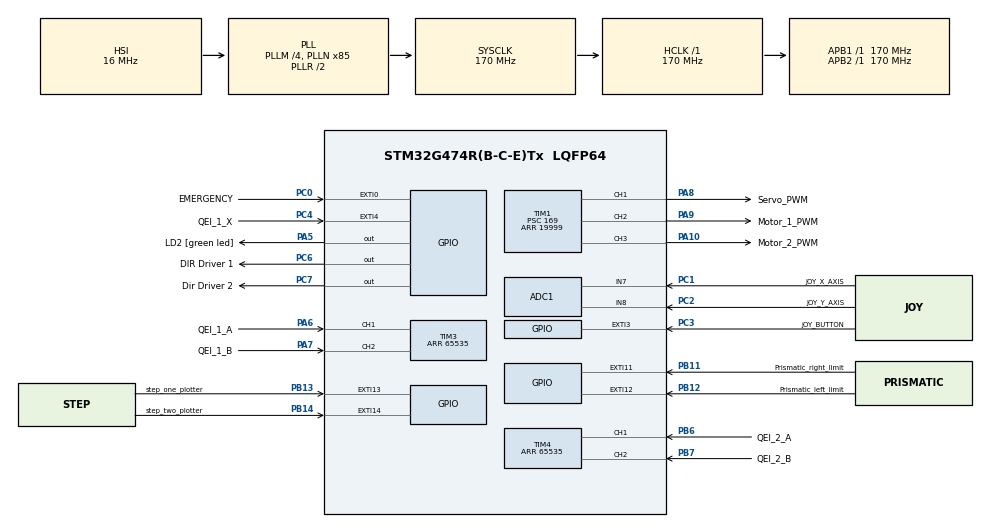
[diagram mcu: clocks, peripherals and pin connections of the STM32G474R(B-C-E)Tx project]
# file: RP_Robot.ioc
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ADC1.Channel-0\#ChannelRegularConversion=ADC_CHANNEL_7
ADC1.Channel-1\#ChannelRegularConversion=ADC_CHANNEL_8
ADC1.ContinuousConvMode=ENABLE
ADC1.DMAContinuousRequests=ENABLE
ADC1.NbrOfConversion=2
ADC1.NbrOfConversionFlag=1
ADC1.OffsetNumber-0\#ChannelRegularConversion=ADC_OFFSET_NONE
ADC1.OffsetNumber-1\#ChannelRegularConversion=ADC_OFFSET_NONE
ADC1.Rank-0\#ChannelRegularConversion=1
ADC1.Rank-1\#ChannelRegularConversion=2
ADC1.SamplingTime-0\#ChannelRegularConversion=ADC_SAMPLETIME_640CYCLES_5
ADC1.SamplingTime-1\#ChannelRegularConversion=ADC_SAMPLETIME_640CYCLES_5
ADC1.master=1
ARM.CMSIS-DSP.1.15.0.CMSISJjDSP=Source
ARM.CMSIS.6.0.0.CMSISJjCORE=true
Dma.ADC1.0.Direction=DMA_PERIPH_TO_MEMORY
Dma.ADC1.0.EventEnable=DISABLE
Dma.ADC1.0.Instance=DMA1_Channel1
Dma.ADC1.0.MemDataAlignment=DMA_MDATAALIGN_HALFWORD
Dma.ADC1.0.MemInc=DMA_MINC_ENABLE
Dma.ADC1.0.Mode=DMA_CIRCULAR
Dma.ADC1.0.PeriphDataAlignment=DMA_PDATAALIGN_HALFWORD
Dma.ADC1.0.PeriphInc=DMA_PINC_DISABLE
Dma.ADC1.0.Polarity=HAL_DMAMUX_REQ_GEN_RISING
Dma.ADC1.0.Priority=DMA_PRIORITY_LOW
Dma.ADC1.0.RequestNumber=1
Dma.ADC1.0.SignalID=NONE
Dma.ADC1.0.SyncEnable=DISABLE
Dma.ADC1.0.SyncPolarity=HAL_DMAMUX_SYNC_NO_EVENT
Dma.ADC1.0.SyncRequestNumber=1
Dma.ADC1.0.SyncSignalID=NONE
Dma.Request0=ADC1
Mcu.Family=STM32G4
Mcu.Name=STM32G474R(B-C-E)Tx
Mcu.Package=LQFP64
NVIC.DMA1_Channel1_IRQn=true\:0\:0\:false\:false\:true\:false\:true\:true
NVIC.EXTI15_10_IRQn=true\:0\:0\:false\:false\:true\:true\:true\:true
NVIC.PriorityGroup=NVIC_PRIORITYGROUP_4
NVIC.TIM2_IRQn=true\:0\:0\:false\:false\:true\:true\:true\:true
NVIC.TIM3_IRQn=true\:0\:0\:false\:false\:true\:true\:true\:true
NVIC.TIM4_IRQn=true\:0\:0\:false\:false\:true\:true\:true\:true
NVIC.TIM5_IRQn=true\:0\:0\:false\:false\:true\:true\:true\:true
PA10.GPIO_Label=Motor_2_PWM
PA10.Signal=S_TIM1_CH3
PA13.GPIO_Label=T_SWDIO
PA13.Mode=Trace_Asynchronous_SW
PA13.Signal=SYS_JTMS-SWDIO
PA14.GPIO_Label=T_SWCLK
PA14.Mode=Trace_Asynchronous_SW
PA14.Signal=SYS_JTCK-SWCLK
PA2.GPIO_Label=LPUART1_TX [STLINKV3E_VCP_RX]
PA2.Signal=LPUART1_TX
PA3.GPIO_Label=LPUART1_RX [STLINKV3E_VCP_TX]
PA3.Signal=LPUART1_RX
PA5.GPIO_Label=LD2 [green led]
PA5.Signal=GPIO_Output
PA6.GPIO_Label=QEI_1_A
PA6.Signal=S_TIM3_CH1
PA7.GPIO_Label=QEI_1_B
PA7.Signal=S_TIM3_CH2
PA8.GPIO_Label=Servo_PWM
PA8.Signal=S_TIM1_CH1
PA9.GPIO_Label=Motor_1_PWM
PA9.Signal=S_TIM1_CH2
PB11.GPIO_Label=Prismatic_right_limit
PB11.GPIO_ModeDefaultEXTI=GPIO_MODE_IT_RISING_FALLING
PB11.Signal=GPXTI11
PB12.GPIO_Label=Prismatic_left_limit
PB12.GPIO_ModeDefaultEXTI=GPIO_MODE_IT_RISING_FALLING
PB12.Signal=GPXTI12
PB13.GPIO_Label=step_one_plotter
PB13.Signal=GPXTI13
PB14.GPIO_Label=step_two_plotter
PB14.Signal=GPXTI14
PB3.GPIO_Label=T_SWO
PB3.Mode=Trace_Asynchronous_SW
PB3.Signal=SYS_JTDO-SWO
PB6.GPIO_Label=QEI_2_A
PB6.Signal=S_TIM4_CH1
PB7.GPIO_Label=QEI_2_B
PB7.Signal=S_TIM4_CH2
PC0.GPIO_Label=EMERGENCY
PC0.Signal=GPXTI0
PC1.GPIO_Label=JOY_X_AXIS
PC1.Mode=IN7-Single-Ended
PC1.Signal=ADC1_IN7
PC14-OSC32_IN.GPIO_Label=RCC_OSC32_IN
PC14-OSC32_IN.Signal=RCC_OSC32_IN
PC15-OSC32_OUT.GPIO_Label=RCC_OSC32_OUT
PC15-OSC32_OUT.Signal=RCC_OSC32_OUT
PC2.GPIO_Label=JOY_Y_AXIS
PC2.Mode=IN8-Single-Ended
PC2.Signal=ADC1_IN8
PC3.GPIO_Label=JOY_BUTTON
PC3.Signal=GPXTI3
PC4.GPIO_Label=QEI_1_X
PC4.Signal=GPXTI4
PC6.GPIO_Label=DIR Driver 1
PC6.Signal=GPIO_Output
PC7.GPIO_Label=Dir Driver 2
PC7.Signal=GPIO_Output
PF0-OSC_IN.GPIO_Label=RCC_OSC_IN
PF0-OSC_IN.Signal=RCC_OSC_IN
PF1-OSC_OUT.GPIO_Label=RCC_OSC_OUT
PF1-OSC_OUT.Signal=RCC_OSC_OUT
ProjectManager.HeapSize=0x200
ProjectManager.StackSize=0x400
ProjectManager.TargetToolchain=STM32CubeIDE
RCC.ADC12Freq_Value=170000000
RCC.ADC345Freq_Value=170000000
RCC.AHBFreq_Value=170000000
RCC.APB1Freq_Value=170000000
RCC.APB1TimFreq_Value=170000000
RCC.APB2Freq_Value=170000000
RCC.APB2TimFreq_Value=170000000
RCC.CortexFreq_Value=170000000
RCC.EXTERNAL_CLOCK_VALUE=12288000
RCC.HCLKFreq_Value=170000000
RCC.HSE_VALUE=24000000
RCC.HSI48_VALUE=48000000
RCC.HSI_VALUE=16000000
RCC.LSE_VALUE=32768
RCC.PLLM=RCC_PLLM_DIV4
RCC.PLLN=85
RCC.RTCClockSelection=RCC_RTCCLKSOURCE_LSE
RCC.SYSCLKFreq_VALUE=170000000
RCC.SYSCLKSource=RCC_SYSCLKSOURCE_PLLCLK
RCC.USBFreq_Value=170000000
RCC.VCOOutputFreq_Value=340000000
SH.S_TIM1_CH1.0=TIM1_CH1,PWM Generation1 CH1
SH.S_TIM1_CH2.0=TIM1_CH2,PWM Generation2 CH2
SH.S_TIM1_CH3.0=TIM1_CH3,PWM Generation3 CH3
SH.S_TIM3_CH1.0=TIM3_CH1,Encoder_Interface
SH.S_TIM3_CH2.0=TIM3_CH2,Encoder_Interface
SH.S_TIM4_CH1.0=TIM4_CH1,Encoder_Interface
SH.S_TIM4_CH2.0=TIM4_CH2,Encoder_Interface
TIM1.Channel-PWM\ Generation1\ CH1=TIM_CHANNEL_1
TIM1.Channel-PWM\ Generation2\ CH2=TIM_CHANNEL_2
TIM1.Channel-PWM\ Generation3\ CH3=TIM_CHANNEL_3
TIM1.PeriodNoDither=19999
TIM1.Prescaler=169
TIM1.PulseNoDither_3=0
TIM2.PeriodNoDither=999
TIM2.Prescaler=169
TIM3.EncoderMode=TIM_ENCODERMODE_TI12
TIM3.PeriodNoDither=65535
TIM4.EncoderMode=TIM_ENCODERMODE_TI12
TIM4.PeriodNoDither=65535
TIM5.PeriodNoDither=4294967295
TIM5.Prescaler=169
VP_ARM.CMSIS-DSP_VS_CMSISJjDSP_1.15.0_1.15.0.Mode=CMSISJjDSP
VP_ARM.CMSIS_VS_CMSISJjCORE_6.0.0_6.0.0.Mode=CMSISJjCORE
VP_SYS_VS_DBSignals.Mode=DisableDeadBatterySignals
VP_TIM1_VS_ClockSourceINT.Mode=Internal
VP_TIM2_VS_ClockSourceINT.Mode=Internal
VP_TIM5_VS_ClockSourceINT.Mode=Internal
board=NUCLEO-G474RE

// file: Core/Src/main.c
/* USER CODE BEGIN Header */
/**
 ******************************************************************************
 * @file           : main.c
 * @brief          : Main program body
 ******************************************************************************
 * @attention
 *
 * Copyright (c) 2025 STMicroelectronics.
 * All rights reserved.
 *
 * This software is licensed under terms that can be found in the LICENSE file
 * in the root directory of this software component.
 * If no LICENSE file comes with this software, it is provided AS-IS.
 *
 ******************************************************************************
 */
/* USER CODE END Header */
#include "main.h"

/* USER CODE BEGIN Includes */
#include <stdbool.h>
#include "arm_math.h"
#include <stdlib.h>
/* USER CODE END Includes */

ADC_HandleTypeDef hadc1;
DMA_HandleTypeDef hdma_adc1;

TIM_HandleTypeDef htim1;
TIM_HandleTypeDef htim2;
TIM_HandleTypeDef htim3;
TIM_HandleTypeDef htim4;
TIM_HandleTypeDef htim5;

/* USER CODE BEGIN PV */
//Prismatic
int8_t prismatic_left_sw = 0;
int8_t prismatic_right_sw = 0;
int8_t pen_limit_one = 0;
int8_t pen_limit_two = 0;

// Encoder prismatic
int32_t prismatic_raw_encoder_val = 0;
int32_t prismatic_raw_encoder_prev = 0;
int32_t prismatic_encoder_val = 0;
double prismatic_position = 0.00;
double prismatic_error = 0.00;
double prismatic_feedback = 0.00;

int32_t state = 0;

// PID pristmatic
arm_pid_instance_f32 PID = { 0 };
double prismatic_setposition = 0.00;
double prismatic_Kp = 5;
double prismatic_Ki = 2;
double prismatic_Kd = 0;

//Revolute
//Encoder
int32_t revolute_raw_encoder_val = 0;
int32_t revolute_raw_encoder_prev = 0;
int32_t revolute_encoder_val = 0;
double revolute_position = 0.00;
double revolute_error = 0.00;
double revolute_feedback = 0.00;
double revolute_velocity = 0.00;
// PID
arm_pid_instance_f32 PID_position = { 0 };
double revolute_setposition = 0.00;
double revolute_position_Kp = 1;
double revolute_position_Ki = 0;
double revolute_position_Kd = 0;

arm_pid_instance_f32 PID_velocity = { 0 };
double revolute_velocity_Kp = 1;
double revolute_velocity_Ki = 0;
double revolute_velocity_Kd = 0;

typedef struct
{
	uint32_t Position[2];
	uint64_t TimeStamp[2];
	float QEIPostion_1turn;
	float QEIAngularVelocity;
}QEI_StructureTypeDef;

QEI_StructureTypeDef QEIdata = {0};
uint64_t _micros = 0;

enum
{
	NEW,OLD
};

// ADC
uint16_t ADC_RawRead[10]={0};
double Joy_X_Axis;
double Joy_Y_Axis;
double Joy_Buttom;
/* USER CODE END PV */

void SystemClock_Config(void);
static void MX_GPIO_Init(void);
static void MX_DMA_Init(void);
static void MX_TIM1_Init(void);
static void MX_TIM3_Init(void);
static void MX_TIM4_Init(void);
static void MX_ADC1_Init(void);
static void MX_TIM2_Init(void);
static void MX_TIM5_Init(void);
/* USER CODE BEGIN PFP */
//Prismatic Control
void SetHomePrismatic();
void PrismaticMotorControl(int speed, int dir);
void PrismaticPIDControl(double set_point);

int map(int x, int in_min, int in_max, int out_min, int out_max);

//Revolute Control
void SetHomeRevolute();
void RevoluteMotorControl(int speed, int dir);
void PrismaticCascadeControl(double pos_setpoint);
uint64_t micros();
void Revolute_PosVel_Update();
void Joy_Strick();
// External Interrupt
void HAL_GPIO_EXTI_Callback(uint16_t GPIO_Pin);

// Timer loop (Read sensor data and calculate here)
void HAL_TIM_PeriodElapsedCallback(TIM_HandleTypeDef *htim);
/* USER CODE END PFP */

int main(void)
{

  /* MCU Configuration--------------------------------------------------------*/

  /* Reset of all peripherals, Initializes the Flash interface and the Systick. */
  HAL_Init();

  /* Configure the system clock */
  SystemClock_Config();

  /* Initialize all configured peripherals */
  MX_GPIO_Init();
  MX_DMA_Init();
  MX_TIM1_Init();
  MX_TIM3_Init();
  MX_TIM4_Init();
  MX_ADC1_Init();
  MX_TIM2_Init();
  MX_TIM5_Init();
  /* USER CODE BEGIN 2 */

	// Setup PWM Generator
	HAL_TIM_Base_Start(&htim1);
	HAL_TIM_PWM_Start(&htim1, TIM_CHANNEL_1);
	HAL_TIM_PWM_Start(&htim1, TIM_CHANNEL_2);
	HAL_TIM_PWM_Start(&htim1, TIM_CHANNEL_3);

	// Setup Encoder
	HAL_TIM_Encoder_Start(&htim4, TIM_CHANNEL_ALL);
	prismatic_raw_encoder_val = __HAL_TIM_GET_COUNTER(&htim4);
	HAL_TIM_Encoder_Start(&htim3, TIM_CHANNEL_ALL);
	revolute_raw_encoder_val = __HAL_TIM_GET_COUNTER(&htim3);

	// Setup Timer 2 for Main Process
	HAL_TIM_Base_Start_IT(&htim2);

	// Setup Timer 5 for Micros
	HAL_TIM_Base_Start_IT(&htim5);

	//PID
	PID.Kp = prismatic_Kp;
	PID.Ki = prismatic_Ki;
	PID.Kd = prismatic_Kd;
	PID_position.Kp = revolute_position_Kp;
	PID_position.Ki = revolute_position_Ki;
	PID_position.Kd = revolute_position_Kd;
	PID_velocity.Kp = revolute_velocity_Kp;
	PID_velocity.Ki = revolute_velocity_Ki;
	PID_velocity.Kd = revolute_velocity_Kd;
	arm_pid_init_f32(&PID, 0);
	arm_pid_init_f32(&PID_position, 0);
	arm_pid_init_f32(&PID_velocity, 0);

	// DMA
	HAL_ADC_Start_DMA(&hadc1, ADC_RawRead, 10);

	SetHomePrismatic();
	SetHomeRevolute();
  /* USER CODE END 2 */

  /* Infinite loop */
	while (1) {

	}
}

void SystemClock_Config(void)
{
  RCC_OscInitTypeDef RCC_OscInitStruct = {0};
  RCC_ClkInitTypeDef RCC_ClkInitStruct = {0};

  /** Configure the main internal regulator output voltage
  */
  HAL_PWREx_ControlVoltageScaling(PWR_REGULATOR_VOLTAGE_SCALE1_BOOST);

  /** Initializes the RCC Oscillators according to the specified parameters
  * in the RCC_OscInitTypeDef structure.
  */
  RCC_OscInitStruct.OscillatorType = RCC_OSCILLATORTYPE_HSI;
  RCC_OscInitStruct.HSIState = RCC_HSI_ON;
  RCC_OscInitStruct.HSICalibrationValue = RCC_HSICALIBRATION_DEFAULT;
  RCC_OscInitStruct.PLL.PLLState = RCC_PLL_ON;
  RCC_OscInitStruct.PLL.PLLSource = RCC_PLLSOURCE_HSI;
  RCC_OscInitStruct.PLL.PLLM = RCC_PLLM_DIV4;
  RCC_OscInitStruct.PLL.PLLN = 85;
  RCC_OscInitStruct.PLL.PLLP = RCC_PLLP_DIV2;
  RCC_OscInitStruct.PLL.PLLQ = RCC_PLLQ_DIV2;
  RCC_OscInitStruct.PLL.PLLR = RCC_PLLR_DIV2;
  if (HAL_RCC_OscConfig(&RCC_OscInitStruct) != HAL_OK)
  {
    Error_Handler();
  }

  /** Initializes the CPU, AHB and APB buses clocks
  */
  RCC_ClkInitStruct.ClockType = RCC_CLOCKTYPE_HCLK|RCC_CLOCKTYPE_SYSCLK
                              |RCC_CLOCKTYPE_PCLK1|RCC_CLOCKTYPE_PCLK2;
  RCC_ClkInitStruct.SYSCLKSource = RCC_SYSCLKSOURCE_PLLCLK;
  RCC_ClkInitStruct.AHBCLKDivider = RCC_SYSCLK_DIV1;
  RCC_ClkInitStruct.APB1CLKDivider = RCC_HCLK_DIV1;
  RCC_ClkInitStruct.APB2CLKDivider = RCC_HCLK_DIV1;

  if (HAL_RCC_ClockConfig(&RCC_ClkInitStruct, FLASH_LATENCY_4) != HAL_OK)
  {
    Error_Handler();
  }
}

static void MX_ADC1_Init(void)
{

  ADC_MultiModeTypeDef multimode = {0};
  ADC_ChannelConfTypeDef sConfig = {0};

  /** Common config
  */
  hadc1.Instance = ADC1;
  hadc1.Init.ClockPrescaler = ADC_CLOCK_SYNC_PCLK_DIV4;
  hadc1.Init.Resolution = ADC_RESOLUTION_12B;
  hadc1.Init.DataAlign = ADC_DATAALIGN_RIGHT;
  hadc1.Init.GainCompensation = 0;
  hadc1.Init.ScanConvMode = ADC_SCAN_ENABLE;
  hadc1.Init.EOCSelection = ADC_EOC_SINGLE_CONV;
  hadc1.Init.LowPowerAutoWait = DISABLE;
  hadc1.Init.ContinuousConvMode = ENABLE;
  hadc1.Init.NbrOfConversion = 2;
  hadc1.Init.DiscontinuousConvMode = DISABLE;
  hadc1.Init.ExternalTrigConv = ADC_SOFTWARE_START;
  hadc1.Init.ExternalTrigConvEdge = ADC_EXTERNALTRIGCONVEDGE_NONE;
  hadc1.Init.DMAContinuousRequests = ENABLE;
  hadc1.Init.Overrun = ADC_OVR_DATA_PRESERVED;
  hadc1.Init.OversamplingMode = DISABLE;
  if (HAL_ADC_Init(&hadc1) != HAL_OK)
  {
    Error_Handler();
  }

  /** Configure the ADC multi-mode
  */
  multimode.Mode = ADC_MODE_INDEPENDENT;
  if (HAL_ADCEx_MultiModeConfigChannel(&hadc1, &multimode) != HAL_OK)
  {
    Error_Handler();
  }

  /** Configure Regular Channel
  */
  sConfig.Channel = ADC_CHANNEL_7;
  sConfig.Rank = ADC_REGULAR_RANK_1;
  sConfig.SamplingTime = ADC_SAMPLETIME_640CYCLES_5;
  sConfig.SingleDiff = ADC_SINGLE_ENDED;
  sConfig.OffsetNumber = ADC_OFFSET_NONE;
  sConfig.Offset = 0;
  if (HAL_ADC_ConfigChannel(&hadc1, &sConfig) != HAL_OK)
  {
    Error_Handler();
  }

  /** Configure Regular Channel
  */
  sConfig.Channel = ADC_CHANNEL_8;
  sConfig.Rank = ADC_REGULAR_RANK_2;
  if (HAL_ADC_ConfigChannel(&hadc1, &sConfig) != HAL_OK)
  {
    Error_Handler();
  }

}

static void MX_TIM1_Init(void)
{

  TIM_ClockConfigTypeDef sClockSourceConfig = {0};
  TIM_MasterConfigTypeDef sMasterConfig = {0};
  TIM_OC_InitTypeDef sConfigOC = {0};
  TIM_BreakDeadTimeConfigTypeDef sBreakDeadTimeConfig = {0};

  htim1.Instance = TIM1;
  htim1.Init.Prescaler = 169;
  htim1.Init.CounterMode = TIM_COUNTERMODE_UP;
  htim1.Init.Period = 19999;
  htim1.Init.ClockDivision = TIM_CLOCKDIVISION_DIV1;
  htim1.Init.RepetitionCounter = 0;
  htim1.Init.AutoReloadPreload = TIM_AUTORELOAD_PRELOAD_DISABLE;
  if (HAL_TIM_Base_Init(&htim1) != HAL_OK)
  {
    Error_Handler();
  }
  sClockSourceConfig.ClockSource = TIM_CLOCKSOURCE_INTERNAL;
  if (HAL_TIM_ConfigClockSource(&htim1, &sClockSourceConfig) != HAL_OK)
  {
    Error_Handler();
  }
  if (HAL_TIM_PWM_Init(&htim1) != HAL_OK)
  {
    Error_Handler();
  }
  sMasterConfig.MasterOutputTrigger = TIM_TRGO_RESET;
  sMasterConfig.MasterOutputTrigger2 = TIM_TRGO2_RESET;
  sMasterConfig.MasterSlaveMode = TIM_MASTERSLAVEMODE_DISABLE;
  if (HAL_TIMEx_MasterConfigSynchronization(&htim1, &sMasterConfig) != HAL_OK)
  {
    Error_Handler();
  }
  sConfigOC.OCMode = TIM_OCMODE_PWM1;
  sConfigOC.Pulse = 0;
  sConfigOC.OCPolarity = TIM_OCPOLARITY_HIGH;
  sConfigOC.OCNPolarity = TIM_OCNPOLARITY_HIGH;
  sConfigOC.OCFastMode = TIM_OCFAST_DISABLE;
  sConfigOC.OCIdleState = TIM_OCIDLESTATE_RESET;
  sConfigOC.OCNIdleState = TIM_OCNIDLESTATE_RESET;
  if (HAL_TIM_PWM_ConfigChannel(&htim1, &sConfigOC, TIM_CHANNEL_1) != HAL_OK)
  {
    Error_Handler();
  }
  if (HAL_TIM_PWM_ConfigChannel(&htim1, &sConfigOC, TIM_CHANNEL_2) != HAL_OK)
  {
    Error_Handler();
  }
  if (HAL_TIM_PWM_ConfigChannel(&htim1, &sConfigOC, TIM_CHANNEL_3) != HAL_OK)
  {
    Error_Handler();
  }
  sBreakDeadTimeConfig.OffStateRunMode = TIM_OSSR_DISABLE;
  sBreakDeadTimeConfig.OffStateIDLEMode = TIM_OSSI_DISABLE;
  sBreakDeadTimeConfig.LockLevel = TIM_LOCKLEVEL_OFF;
  sBreakDeadTimeConfig.DeadTime = 0;
  sBreakDeadTimeConfig.BreakState = TIM_BREAK_DISABLE;
  sBreakDeadTimeConfig.BreakPolarity = TIM_BREAKPOLARITY_HIGH;
  sBreakDeadTimeConfig.BreakFilter = 0;
  sBreakDeadTimeConfig.BreakAFMode = TIM_BREAK_AFMODE_INPUT;
  sBreakDeadTimeConfig.Break2State = TIM_BREAK2_DISABLE;
  sBreakDeadTimeConfig.Break2Polarity = TIM_BREAK2POLARITY_HIGH;
  sBreakDeadTimeConfig.Break2Filter = 0;
  sBreakDeadTimeConfig.Break2AFMode = TIM_BREAK_AFMODE_INPUT;
  sBreakDeadTimeConfig.AutomaticOutput = TIM_AUTOMATICOUTPUT_DISABLE;
  if (HAL_TIMEx_ConfigBreakDeadTime(&htim1, &sBreakDeadTimeConfig) != HAL_OK)
  {
    Error_Handler();
  }
  HAL_TIM_MspPostInit(&htim1);

}

static void MX_TIM2_Init(void)
{

  TIM_ClockConfigTypeDef sClockSourceConfig = {0};
  TIM_MasterConfigTypeDef sMasterConfig = {0};

  htim2.Instance = TIM2;
  htim2.Init.Prescaler = 169;
  htim2.Init.CounterMode = TIM_COUNTERMODE_UP;
  htim2.Init.Period = 999;
  htim2.Init.ClockDivision = TIM_CLOCKDIVISION_DIV1;
  htim2.Init.AutoReloadPreload = TIM_AUTORELOAD_PRELOAD_DISABLE;
  if (HAL_TIM_Base_Init(&htim2) != HAL_OK)
  {
    Error_Handler();
  }
  sClockSourceConfig.ClockSource = TIM_CLOCKSOURCE_INTERNAL;
  if (HAL_TIM_ConfigClockSource(&htim2, &sClockSourceConfig) != HAL_OK)
  {
    Error_Handler();
  }
  sMasterConfig.MasterOutputTrigger = TIM_TRGO_RESET;
  sMasterConfig.MasterSlaveMode = TIM_MASTERSLAVEMODE_DISABLE;
  if (HAL_TIMEx_MasterConfigSynchronization(&htim2, &sMasterConfig) != HAL_OK)
  {
    Error_Handler();
  }

}

static void MX_TIM3_Init(void)
{

  TIM_Encoder_InitTypeDef sConfig = {0};
  TIM_MasterConfigTypeDef sMasterConfig = {0};

  htim3.Instance = TIM3;
  htim3.Init.Prescaler = 0;
  htim3.Init.CounterMode = TIM_COUNTERMODE_UP;
  htim3.Init.Period = 65535;
  htim3.Init.ClockDivision = TIM_CLOCKDIVISION_DIV1;
  htim3.Init.AutoReloadPreload = TIM_AUTORELOAD_PRELOAD_DISABLE;
  sConfig.EncoderMode = TIM_ENCODERMODE_TI12;
  sConfig.IC1Polarity = TIM_ICPOLARITY_RISING;
  sConfig.IC1Selection = TIM_ICSELECTION_DIRECTTI;
  sConfig.IC1Prescaler = TIM_ICPSC_DIV1;
  sConfig.IC1Filter = 0;
  sConfig.IC2Polarity = TIM_ICPOLARITY_RISING;
  sConfig.IC2Selection = TIM_ICSELECTION_DIRECTTI;
  sConfig.IC2Prescaler = TIM_ICPSC_DIV1;
  sConfig.IC2Filter = 0;
  if (HAL_TIM_Encoder_Init(&htim3, &sConfig) != HAL_OK)
  {
    Error_Handler();
  }
  sMasterConfig.MasterOutputTrigger = TIM_TRGO_RESET;
  sMasterConfig.MasterSlaveMode = TIM_MASTERSLAVEMODE_DISABLE;
  if (HAL_TIMEx_MasterConfigSynchronization(&htim3, &sMasterConfig) != HAL_OK)
  {
    Error_Handler();
  }

}

static void MX_TIM4_Init(void)
{

  TIM_Encoder_InitTypeDef sConfig = {0};
  TIM_MasterConfigTypeDef sMasterConfig = {0};

  htim4.Instance = TIM4;
  htim4.Init.Prescaler = 0;
  htim4.Init.CounterMode = TIM_COUNTERMODE_UP;
  htim4.Init.Period = 65535;
  htim4.Init.ClockDivision = TIM_CLOCKDIVISION_DIV1;
  htim4.Init.AutoReloadPreload = TIM_AUTORELOAD_PRELOAD_DISABLE;
  sConfig.EncoderMode = TIM_ENCODERMODE_TI12;
  sConfig.IC1Polarity = TIM_ICPOLARITY_RISING;
  sConfig.IC1Selection = TIM_ICSELECTION_DIRECTTI;
  sConfig.IC1Prescaler = TIM_ICPSC_DIV1;
  sConfig.IC1Filter = 0;
  sConfig.IC2Polarity = TIM_ICPOLARITY_RISING;
  sConfig.IC2Selection = TIM_ICSELECTION_DIRECTTI;
  sConfig.IC2Prescaler = TIM_ICPSC_DIV1;
  sConfig.IC2Filter = 0;
  if (HAL_TIM_Encoder_Init(&htim4, &sConfig) != HAL_OK)
  {
    Error_Handler();
  }
  sMasterConfig.MasterOutputTrigger = TIM_TRGO_RESET;
  sMasterConfig.MasterSlaveMode = TIM_MASTERSLAVEMODE_DISABLE;
  if (HAL_TIMEx_MasterConfigSynchronization(&htim4, &sMasterConfig) != HAL_OK)
  {
    Error_Handler();
  }

}

static void MX_TIM5_Init(void)
{

  TIM_ClockConfigTypeDef sClockSourceConfig = {0};
  TIM_MasterConfigTypeDef sMasterConfig = {0};

  htim5.Instance = TIM5;
  htim5.Init.Prescaler = 169;
  htim5.Init.CounterMode = TIM_COUNTERMODE_UP;
  htim5.Init.Period = 4294967295;
  htim5.Init.ClockDivision = TIM_CLOCKDIVISION_DIV1;
  htim5.Init.AutoReloadPreload = TIM_AUTORELOAD_PRELOAD_DISABLE;
  if (HAL_TIM_Base_Init(&htim5) != HAL_OK)
  {
    Error_Handler();
  }
  sClockSourceConfig.ClockSource = TIM_CLOCKSOURCE_INTERNAL;
  if (HAL_TIM_ConfigClockSource(&htim5, &sClockSourceConfig) != HAL_OK)
  {
    Error_Handler();
  }
  sMasterConfig.MasterOutputTrigger = TIM_TRGO_RESET;
  sMasterConfig.MasterSlaveMode = TIM_MASTERSLAVEMODE_DISABLE;
  if (HAL_TIMEx_MasterConfigSynchronization(&htim5, &sMasterConfig) != HAL_OK)
  {
    Error_Handler();
  }

}

static void MX_DMA_Init(void)
{

  /* DMA controller clock enable */
  __HAL_RCC_DMAMUX1_CLK_ENABLE();
  __HAL_RCC_DMA1_CLK_ENABLE();

  /* DMA interrupt init */
  /* DMA1_Channel1_IRQn interrupt configuration */
  HAL_NVIC_SetPriority(DMA1_Channel1_IRQn, 0, 0);
  HAL_NVIC_EnableIRQ(DMA1_Channel1_IRQn);

}

static void MX_GPIO_Init(void)
{
  GPIO_InitTypeDef GPIO_InitStruct = {0};

  /* GPIO Ports Clock Enable */
  __HAL_RCC_GPIOC_CLK_ENABLE();
  __HAL_RCC_GPIOF_CLK_ENABLE();
  __HAL_RCC_GPIOA_CLK_ENABLE();
  __HAL_RCC_GPIOB_CLK_ENABLE();

  /*Configure GPIO pin Output Level */
  HAL_GPIO_WritePin(LD2_GPIO_Port, LD2_Pin, GPIO_PIN_RESET);

  /*Configure GPIO pin Output Level */
  HAL_GPIO_WritePin(GPIOC, DIR_Driver_1_Pin|Dir_Driver_2_Pin, GPIO_PIN_RESET);

  /*Configure GPIO pins : EMERGENCY_Pin JOY_BUTTON_Pin QEI_1_X_Pin */
  GPIO_InitStruct.Pin = EMERGENCY_Pin|JOY_BUTTON_Pin|QEI_1_X_Pin;
  GPIO_InitStruct.Mode = GPIO_MODE_IT_RISING;
  GPIO_InitStruct.Pull = GPIO_NOPULL;
  HAL_GPIO_Init(GPIOC, &GPIO_InitStruct);

  /*Configure GPIO pins : LPUART1_TX_Pin LPUART1_RX_Pin */
  GPIO_InitStruct.Pin = LPUART1_TX_Pin|LPUART1_RX_Pin;
  GPIO_InitStruct.Mode = GPIO_MODE_AF_PP;
  GPIO_InitStruct.Pull = GPIO_NOPULL;
  GPIO_InitStruct.Speed = GPIO_SPEED_FREQ_LOW;
  GPIO_InitStruct.Alternate = GPIO_AF12_LPUART1;
  HAL_GPIO_Init(GPIOA, &GPIO_InitStruct);

  /*Configure GPIO pin : LD2_Pin */
  GPIO_InitStruct.Pin = LD2_Pin;
  GPIO_InitStruct.Mode = GPIO_MODE_OUTPUT_PP;
  GPIO_InitStruct.Pull = GPIO_NOPULL;
  GPIO_InitStruct.Speed = GPIO_SPEED_FREQ_LOW;
  HAL_GPIO_Init(LD2_GPIO_Port, &GPIO_InitStruct);

  /*Configure GPIO pins : Prismatic_right_limit_Pin Prismatic_left_limit_Pin */
  GPIO_InitStruct.Pin = Prismatic_right_limit_Pin|Prismatic_left_limit_Pin;
  GPIO_InitStruct.Mode = GPIO_MODE_IT_RISING_FALLING;
  GPIO_InitStruct.Pull = GPIO_NOPULL;
  HAL_GPIO_Init(GPIOB, &GPIO_InitStruct);

  /*Configure GPIO pins : step_one_plotter_Pin step_two_plotter_Pin */
  GPIO_InitStruct.Pin = step_one_plotter_Pin|step_two_plotter_Pin;
  GPIO_InitStruct.Mode = GPIO_MODE_IT_RISING;
  GPIO_InitStruct.Pull = GPIO_NOPULL;
  HAL_GPIO_Init(GPIOB, &GPIO_InitStruct);

  /*Configure GPIO pins : DIR_Driver_1_Pin Dir_Driver_2_Pin */
  GPIO_InitStruct.Pin = DIR_Driver_1_Pin|Dir_Driver_2_Pin;
  GPIO_InitStruct.Mode = GPIO_MODE_OUTPUT_PP;
  GPIO_InitStruct.Pull = GPIO_NOPULL;
  GPIO_InitStruct.Speed = GPIO_SPEED_FREQ_LOW;
  HAL_GPIO_Init(GPIOC, &GPIO_InitStruct);

  /* EXTI interrupt init*/
  HAL_NVIC_SetPriority(EXTI15_10_IRQn, 0, 0);
  HAL_NVIC_EnableIRQ(EXTI15_10_IRQn);

}

/* USER CODE BEGIN 4 */
int map(int x, int in_min, int in_max, int out_min, int out_max) {
	return (x - in_min) * (out_max - out_min) / (in_max - in_min) + out_min;
}

// External Interrupt
void HAL_GPIO_EXTI_Callback(uint16_t GPIO_Pin) {
	if (GPIO_Pin == GPIO_PIN_12) {
		prismatic_left_sw = HAL_GPIO_ReadPin(GPIOB, GPIO_PIN_12);
	} else if (GPIO_Pin == GPIO_PIN_11) {
		prismatic_right_sw = HAL_GPIO_ReadPin(GPIOB, GPIO_PIN_11);
	}
}

// Set Prismatic to home
void SetHomePrismatic() {
	while (prismatic_left_sw == false) {
		PrismaticMotorControl(30, 1);
	}
	PrismaticMotorControl(0, 0);

	//reset encoder val
	HAL_TIM_Encoder_Stop(&htim4, TIM_CHANNEL_ALL);
	__HAL_TIM_SET_COUNTER(&htim4, 0);
	prismatic_raw_encoder_val = 0;
	prismatic_raw_encoder_prev = 0;
	prismatic_encoder_val = 0;
	HAL_TIM_Encoder_Start(&htim4, TIM_CHANNEL_ALL);
}

void PrismaticMotorControl(int speed, int dir) {
	// Saturation
	speed = (speed > 100) ? 100 : speed;

	if (dir == 0) {
		// Set motor2 direction to ___
		HAL_GPIO_WritePin(GPIOC, GPIO_PIN_7, GPIO_PIN_RESET);
	} else {
		HAL_GPIO_WritePin(GPIOC, GPIO_PIN_7, GPIO_PIN_SET);
	}

	__HAL_TIM_SET_COMPARE(&htim1, TIM_CHANNEL_3, map(speed, 0, 100, 0, 19999));
}

void PrismaticPIDControl(double set_point) {
	double position = (prismatic_encoder_val * 16.00) / 8192.00;
	double speed = arm_pid_f32(&PID, set_point - position);
	prismatic_error = set_point - position;
	prismatic_feedback = speed;
	int dir = (speed > 0) ? 0 : 1;
	PrismaticMotorControl(abs(speed), dir);
}

// Set Revolute to home
void SetHomeRevolute() {

}

void RevoluteMotorControl(int speed, int dir) {
	// Saturation
	speed = (speed > 100) ? 100 : speed;

	if (dir == 0) {
		// Set motor2 direction to ___
		HAL_GPIO_WritePin(GPIOC, GPIO_PIN_6, GPIO_PIN_RESET);
	} else {
		HAL_GPIO_WritePin(GPIOC, GPIO_PIN_6, GPIO_PIN_SET);
	}

	__HAL_TIM_SET_COMPARE(&htim1, TIM_CHANNEL_2, map(speed, 0, 100, 0, 19999));
}

void RevoluteCascadeControl(double setpoint) {
    double position = revolute_position;
    double pos_error = setpoint - position;

    double target_speed = arm_pid_f32(&PID_position, pos_error);

    double current_speed = revolute_velocity;
    double speed_error = target_speed - current_speed;

    double speed = arm_pid_f32(&PID_velocity, speed_error);

    int dir = (speed > 0) ? 0 : 1;
    PrismaticMotorControl(abs(speed), dir);
}

uint64_t micros()
{

	return __HAL_TIM_GET_COUNTER(&htim5)+_micros;
}

void Revolute_PosVel_Update()
{
	QEIdata.TimeStamp[NEW] = micros();
	QEIdata.Position[NEW] = __HAL_TIM_GET_COUNTER(&htim3);
	revolute_position = (QEIdata.Position[NEW] * 0.5) / 8191;
	QEIdata.QEIPostion_1turn = QEIdata.Position[NEW] % 8191;

	int32_t diffPosition = QEIdata.Position[NEW] - QEIdata.Position[OLD];

	if (diffPosition > (64512 / 2))
		diffPosition -= 64512;
	else if (diffPosition < -(64512 / 2))
		diffPosition += 64512;

	float diffTime = (QEIdata.TimeStamp[NEW]-QEIdata.TimeStamp[OLD]) * 0.000001;
	if(diffTime == 0)
	return;

	QEIdata.QEIAngularVelocity = (float)diffPosition / diffTime;
	revolute_velocity = QEIdata.QEIAngularVelocity;
	QEIdata.Position[OLD] = QEIdata.Position[NEW];
	QEIdata.TimeStamp[OLD]=QEIdata.TimeStamp[NEW];
}
//
void Joy_Strick(){
	remain = __HAL_DMA_GET_COUNTER(hadc1.DMA_Handle);
	float ch1;
	float ch2;
	if(remain == 0){
		int ar_ch1[5] = {0, 2, 4, 6, 8};
		int ar_ch2[5] = {1, 3, 5, 7, 9};
		for(int i = 0; i < 5; i++){
			  ch1 += ADC_RawRead[ar_ch1[i]];
		}
		for(int j = 0; j < 5; j++){
			  ch2 += ADC_RawRead[ar_ch2[j]];
		}
		Joy_X_Axis = ch1 / 5;
		Joy_Y_Axis = ch2 / 5;
		Joy_Buttom = HAL_GPIO_ReadPin(JOY_BUTTON_GPIO_Port, JOY_BUTTON_Pin);
	}
}

// Timer loop (Read sensor data and calculate here)
void HAL_TIM_PeriodElapsedCallback(TIM_HandleTypeDef *htim) {
	if (htim == &htim2) {

		//-------------------------Read QEI Prismatic-----------------------------
		prismatic_raw_encoder_val = __HAL_TIM_GET_COUNTER(&htim4);
		int16_t delta1 = prismatic_raw_encoder_val - prismatic_raw_encoder_prev;

		if (delta1 > 65535 / 2) {
			delta1 -= 65535;
		} else if (delta1 < -65535 / 2) {
			delta1 += 65535;
		}

		prismatic_encoder_val += delta1;
		prismatic_position = (prismatic_encoder_val * 16.00) / 8192.00;
		prismatic_raw_encoder_prev = prismatic_raw_encoder_val;
		//------------------------------------------------------------------------

		//-------------------------Read QEI Revolute------------------------------
		void Revolute_PosVel_Update();
		//------------------------------------------------------------------------

		void Joy_Strick();

	    PrismaticPIDControl(prismatic_setposition);
	    PrismaticCascadeControl(revolute_setposition);
	}

	if(htim == &htim5)
	{
		_micros += UINT32_MAX;
	}

}

/* USER CODE END 4 */

void Error_Handler(void)
{
	__disable_irq();
	while (1) {
	}
}
